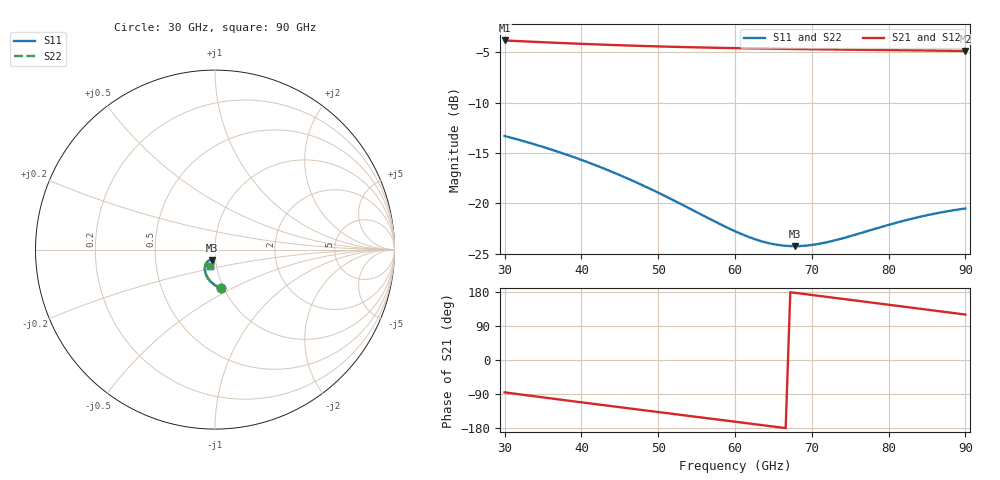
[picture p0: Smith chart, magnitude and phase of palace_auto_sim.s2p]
#  GHZ S DB R 50
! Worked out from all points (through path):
!   101 points, 30 GHz to 90 GHz, reference 50 ohm
!   highest |S21| = -3.82 dB at 30 GHz (marker M1); lowest = -4.9 dB at 90 GHz (marker M2)
!   group delay of S21, straight-line fit = 7.13 ps
!   lowest |S11| = -24.3 dB at 67.8 GHz (marker M3), VSWR 1.13, Z = 47.9 - j5.63 ohm
!   |S11| at or under -10 dB: start of sweep to end of sweep
!   |S22| runs from -24.2 to -13.3 dB; largest |S21 - S12| = 0
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30  -13.31 -81.3  -3.82 -85.4  -3.82 -85.4  -13.29 -81.3
32.4  -13.81 -87.1  -3.90 -91.8  -3.90 -91.8  -13.78 -87.1
34.8  -14.35 -92.6  -3.99 -98.1  -3.99 -98.1  -14.31 -92.7
37.2  -14.94 -97.9  -4.07 -104.4  -4.07 -104.4  -14.90 -98.0
40.2  -15.74 -104.1  -4.16 -112.2  -4.16 -112.2  -15.69 -104.2
45  -17.20 -112.8  -4.29 -124.6  -4.29 -124.6  -17.14 -112.8
48  -18.22 -117.1  -4.37 -132.2  -4.37 -132.2  -18.15 -117.2
50.4  -19.10 -119.8  -4.42 -138.4  -4.42 -138.4  -19.01 -120.0
55.2  -20.96 -122.6  -4.51 -150.6  -4.51 -150.6  -20.86 -122.8
57.6  -21.90 -122.2  -4.55 -156.7  -4.55 -156.7  -21.79 -122.5
60  -22.77 -120.5  -4.58 -162.8  -4.58 -162.8  -22.67 -120.8
62.4  -23.52 -117.3  -4.61 -169.0  -4.61 -169.0  -23.41 -117.7
64.2  -23.93 -114.2  -4.63 -173.6  -4.63 -173.6  -23.82 -114.6
66  -24.18 -110.6  -4.65 -178.2  -4.65 -178.2  -24.08 -111.1
67.8  -24.26 -107.0  -4.67 177.2  -4.67 177.2  -24.17 -107.5
70.2  -24.12 -102.7  -4.69 171.1  -4.69 171.1  -24.04 -103.2
72.6  -23.76 -99.4  -4.71 164.9  -4.71 164.9  -23.69 -99.8
75  -23.27 -97.4  -4.73 158.7  -4.73 158.7  -23.21 -97.8
77.4  -22.73 -96.7  -4.75 152.5  -4.75 152.5  -22.67 -97.0
80.4  -22.06 -97.4  -4.78 144.8  -4.78 144.8  -22.01 -97.7
85.2  -21.15 -101.2  -4.82 132.4  -4.82 132.4  -21.10 -101.3
90  -20.52 -107.1  -4.86 119.9  -4.86 119.9  -20.45 -107.1
